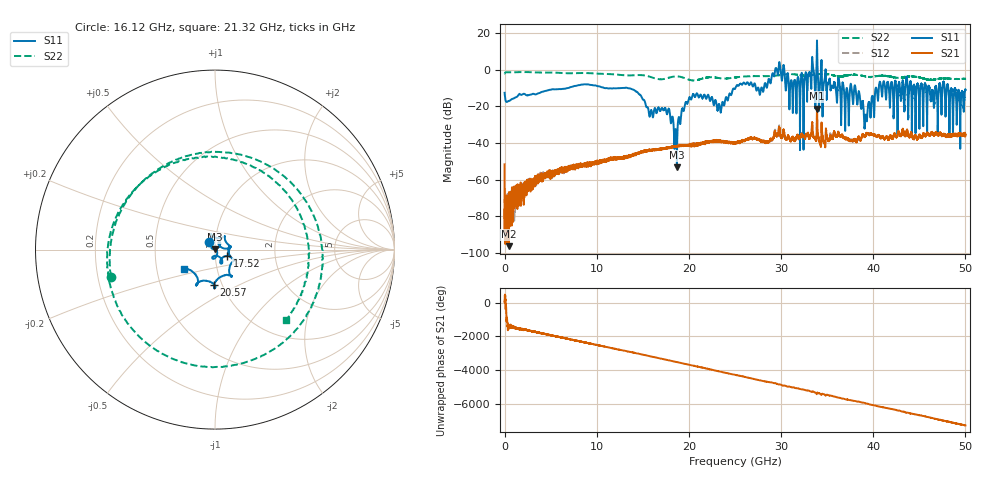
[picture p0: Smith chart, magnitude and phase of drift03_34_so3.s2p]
!Created with skrf (http://scikit-rf.org).
# Hz S RI R 50.0
!freq ReS11 ImS11 ReS21 ImS21 ReS12 ImS12 ReS22 ImS22
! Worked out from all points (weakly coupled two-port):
!   10001 points, 300 kHz to 50 GHz, reference 50 ohm
!   highest |S21| = -21.22 dB at 33.9 GHz (marker M1); lowest = -96.2 dB at 460.3 MHz (marker M2)
!   lowest |S11| = -53.2 dB at 18.7 GHz (marker M3), VSWR 1.00, Z = 50 + j0.218 ohm
!   |S11| at or under -10 dB: start of sweep to 6.946 GHz; 13.31 GHz to 25.05 GHz (11.74 GHz wide, 61.2 % of centre); 38.08 GHz to 40.27 GHz (2.191 GHz wide, 5.59 % of centre) (the widest 3 of 55)
!   |S22| runs from -5.9 to -1.3 dB; largest |S21 - S12| = 0.008
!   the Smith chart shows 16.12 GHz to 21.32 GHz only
!   S11 on the Smith chart (normalised r, x): 16.12 GHz: 0.94, +0.08; 17.52 GHz: 1.15, -0.08; 20.57 GHz: 0.92, -0.37; 21.32 GHz: 0.69, -0.16
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300000  -0.2114 -0.0983  0.00114 0.00237  0.000249 0.000538  -0.7667 -0.1906
4.602972e8  -0.0827 0.1131  -2.77e-06 -1.52e-05  0.000317 0.000113  -0.5024 0.6806
2.340286e9  0.0204 -0.2011  -0.000889 0.000124  -0.000709 7.34e-05  0.0811 -0.852
3.935276e9  -0.0196 0.2404  0.00102 -0.000124  0.00123 -0.00016  -0.0303 0.8319
5.470267e9  0.0676 -0.2815  -0.00152 0.000106  -0.00146 0.000208  0.169 -0.8094
8.33525e9  0.2837 -0.2677  -0.00247 -0.00106  -0.00261 -0.000699  0.6011 -0.5358
1.043024e10  -0.043 0.3326  0.00257 -0.00203  0.00242 -0.00195  -0.0369 0.77
1.201523e10  0.00713 -0.3083  -0.00286 0.00266  -0.00288 0.00269  0.106 -0.731
1.372522e10  -0.0257 0.2991  0.00271 -0.00375  0.00266 -0.00375  -0.0686 0.6935
1.61152e10  -0.0316 0.0411  0.00614 0.00191  0.00609 0.00215  -0.579 -0.15
1.66702e10  0.0541 0.0752  0.00465 -0.00479  0.00464 -0.00478  -0.3575 0.4187
1.751519e10  0.0696 -0.035  -0.0061 -0.0042  -0.00602 -0.00408  0.487 0.2981
1.869519e10  9.51e-05 0.00218  0.00259 0.00775  0.00249 0.00799  -0.0871 -0.649
2.057018e10  -0.0056 -0.1963  -0.0075 -0.0048  -0.00784 -0.00425  0.3712 0.3454
2.132017e10  -0.1701 -0.1086  -0.00517 0.00858  -0.00482 0.00862  0.3963 -0.392
2.500015e10  -0.2963 -0.0484  0.00748 0.00688  0.00796 0.00667  -0.1872 -0.5815
3.050512e10  0.2571 -0.0868  -0.00256 0.0126  -0.00252 0.0127  0.7421 -0.057
3.213011e10  0.2016 0.3687  -0.00072 -0.0144  -0.00034 -0.0146  -0.6961 0.0133
3.33351e10  0.4538 -0.9931  -0.00468 0.0256  -0.0056 0.0246  0.6151 0.3653
3.38951e10  -0.6608 -6.192  0.0863 0.00996  0.082 0.0084  0.6804 -0.32
4.167005e10  -0.2197 0.2855  -0.0117 -0.00466  -0.0115 -0.0048  -0.6498 -0.0563
5e10  -0.1509 -0.2422  0.00169 -0.0169  0.000581 -0.0168  0.4631 -0.3185
